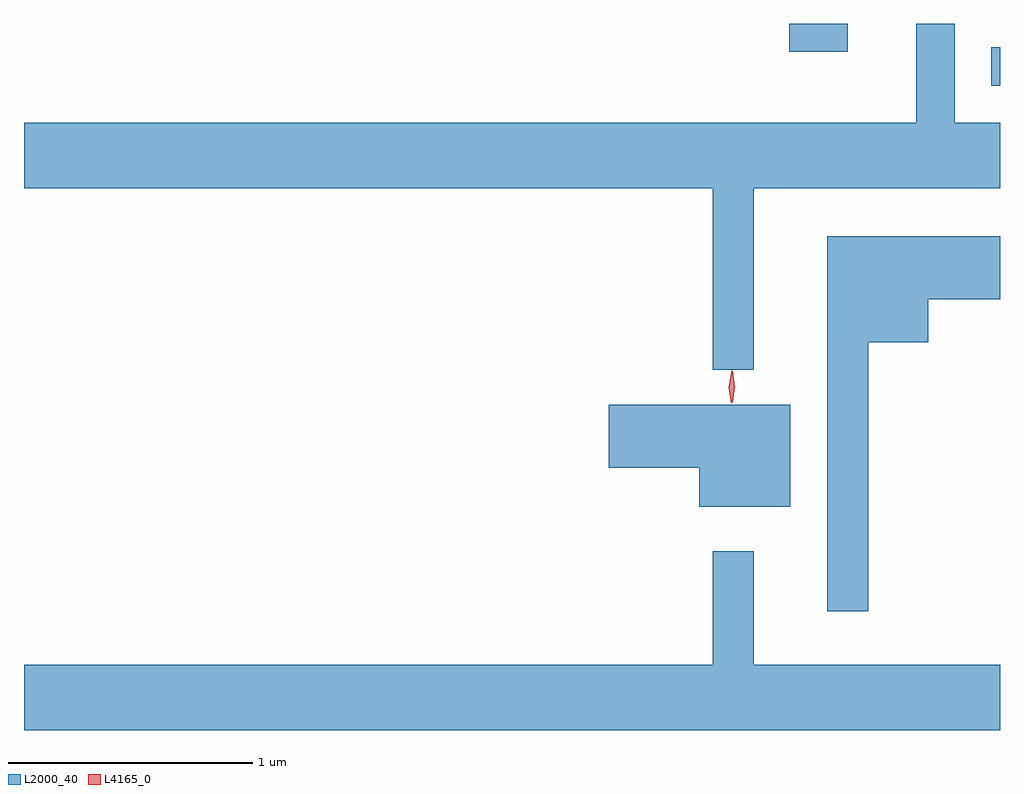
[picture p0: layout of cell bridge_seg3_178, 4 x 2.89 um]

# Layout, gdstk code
import gdstk
lib = gdstk.Library(unit=1e-6, precision=1e-09)
def R(c, l, rs):  # rectangles x0, y0, x1, y1
    for r in rs: c.add(gdstk.rectangle(r[:2], r[2:], *l))
def P(c, l, *ps):  # polygons
    for p in ps: c.add(gdstk.Polygon(p, *l))
L2000_40 = (2000, 40)
L4165_0 = (4165, 0)

bridge_seg3_178 = lib.new_cell('bridge_seg3_178')
R(bridge_seg3_178, L2000_40, [(721.543,1173.056,721.579,1173.214), (720.716,1173.196,720.954,1173.31)])
P(bridge_seg3_178, L2000_40, [(720.569,1172.636),(721.579,1172.636),(721.579,1172.904),(721.394,1172.904),(721.394,1173.31),(721.236,1173.31),(721.236,1172.904),(717.579,1172.904),(717.579,1172.636),(720.401,1172.636),(720.401,1171.893),(720.569,1171.893)],
  [(721.039,1172.006),(721.284,1172.006),(721.284,1172.181),(721.579,1172.181),(721.579,1172.439),(720.871,1172.439),(720.871,1170.903),(721.039,1170.903)],
  [(720.719,1171.749),(719.976,1171.749),(719.976,1171.491),(720.346,1171.491),(720.346,1171.331),(720.719,1171.331)],
  [(721.579,1170.684),(720.569,1170.684),(720.569,1171.148),(720.401,1171.148),(720.401,1170.684),(717.579,1170.684),(717.579,1170.416),(721.579,1170.416)])
P(bridge_seg3_178, L4165_0, [(720.482,1171.76),(720.482,1171.76),(720.472,1171.823),(720.482,1171.886),(720.482,1171.887),(720.483,1171.886),(720.492,1171.823),(720.483,1171.76)],
  [(720.477,1171.754),(720.477,1171.754),(720.468,1171.822),(720.479,1171.89),(720.479,1171.89),(720.48,1171.89),(720.488,1171.822),(720.478,1171.754)])

lib.write_gds('bridge_seg3_178.gds')
